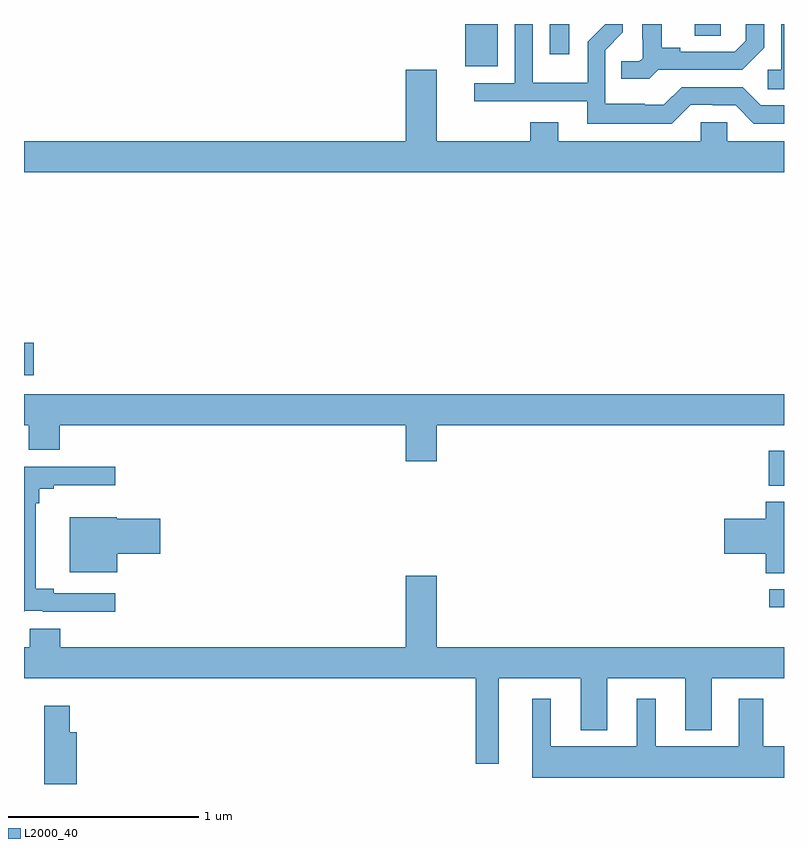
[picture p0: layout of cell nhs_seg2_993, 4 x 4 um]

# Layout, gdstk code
import gdstk
lib = gdstk.Library(unit=1e-6, precision=1e-09)
def R(c, l, rs):  # rectangles x0, y0, x1, y1
    for r in rs: c.add(gdstk.rectangle(r[:2], r[2:], *l))
def P(c, l, *ps):  # polygons
    for p in ps: c.add(gdstk.Polygon(p, *l))
L2000_40 = (2000, 40)

nhs_seg2_993 = lib.new_cell('nhs_seg2_993')
R(nhs_seg2_993, L2000_40, [(166.923,594.729,167,594.825), (166.919,595.371,167,595.555), (163,595.952,163.051,596.123), (165.323,597.578,165.493,597.8), (165.767,597.642,165.871,597.8), (166.529,597.739,166.668,597.8)])
P(nhs_seg2_993, L2000_40, [(166.509,597.375),(166.626,597.375),(166.626,597.372),(166.746,597.372),(166.842,597.276),(167,597.276),(167,597.372),(166.878,597.372),(166.782,597.468),(166.461,597.468),(166.368,597.375),(166.268,597.375),(166.268,597.379),(166.059,597.379),(166.059,597.663),(166.152,597.756),(166.152,597.8),(166.058,597.8),(166.058,597.798),(165.966,597.706),(165.966,597.49),(165.678,597.49),(165.678,597.8),(165.582,597.8),(165.582,597.489),(165.369,597.489),(165.369,597.393),(165.965,597.393),(165.965,597.275),(166.409,597.275)],
  [(167,597.8),(166.986,597.8),(166.986,597.558),(166.914,597.558),(166.914,597.457),(167,597.457)],
  [(166.338,597.558),(166.78,597.558),(166.896,597.674),(166.896,597.8),(166.799,597.8),(166.799,597.711),(166.742,597.654),(166.453,597.654),(166.453,597.674),(166.357,597.674),(166.357,597.8),(166.253,597.8),(166.253,597.721),(166.257,597.721),(166.257,597.621),(166.239,597.603),(166.144,597.603),(166.144,597.511),(166.29,597.511)],
  [(165.008,597.559),(165.008,597.184),(163,597.184),(163,597.02),(167,597.02),(167,597.184),(166.701,597.184),(166.701,597.282),(166.563,597.282),(166.563,597.184),(165.811,597.184),(165.811,597.283),(165.664,597.283),(165.664,597.184),(165.172,597.184),(165.172,597.559)],
  [(165.172,595.688),(167,595.688),(167,595.852),(163,595.852),(163,595.688),(163.025,595.688),(163.025,595.56),(163.189,595.56),(163.189,595.688),(165.008,595.688),(165.008,595.5),(165.172,595.5)],
  [(163.005,594.711),(163.099,594.711),(163.099,594.707),(163.48,594.707),(163.48,594.804),(163.156,594.804),(163.156,594.827),(163.061,594.827),(163.061,595.277),(163.079,595.277),(163.079,595.354),(163.156,595.354),(163.156,595.373),(163.48,595.373),(163.48,595.47),(163,595.47),(163,594.706)],
  [(167,595.286),(166.904,595.286),(166.904,595.196),(166.686,595.196),(166.686,595.013),(166.904,595.013),(166.904,594.91),(167,594.91)],
  [(163.492,595.013),(163.717,595.013),(163.717,595.196),(163.488,595.196),(163.488,595.204),(163.241,595.204),(163.241,594.914),(163.492,594.914)],
  [(165.499,594.356),(165.929,594.356),(165.929,594.083),(166.069,594.083),(166.069,594.356),(166.481,594.356),(166.481,594.083),(166.621,594.083),(166.621,594.356),(167,594.356),(167,594.52),(165.172,594.52),(165.172,594.895),(165.008,594.895),(165.008,594.52),(163.19,594.52),(163.19,594.618),(163.03,594.618),(163.03,594.52),(163,594.52),(163,594.356),(165.378,594.356),(165.378,593.907),(165.499,593.907)],
  [(167,593.998),(166.891,593.998),(166.891,594.25),(166.763,594.25),(166.763,593.998),(166.324,593.998),(166.324,594.25),(166.226,594.25),(166.226,593.998),(165.772,593.998),(165.772,594.25),(165.674,594.25),(165.674,593.834),(167,593.834)],
  [(163.277,594.073),(163.241,594.073),(163.241,594.211),(163.106,594.211),(163.106,593.8),(163.277,593.8)])

lib.write_gds('nhs_seg2_993.gds')
